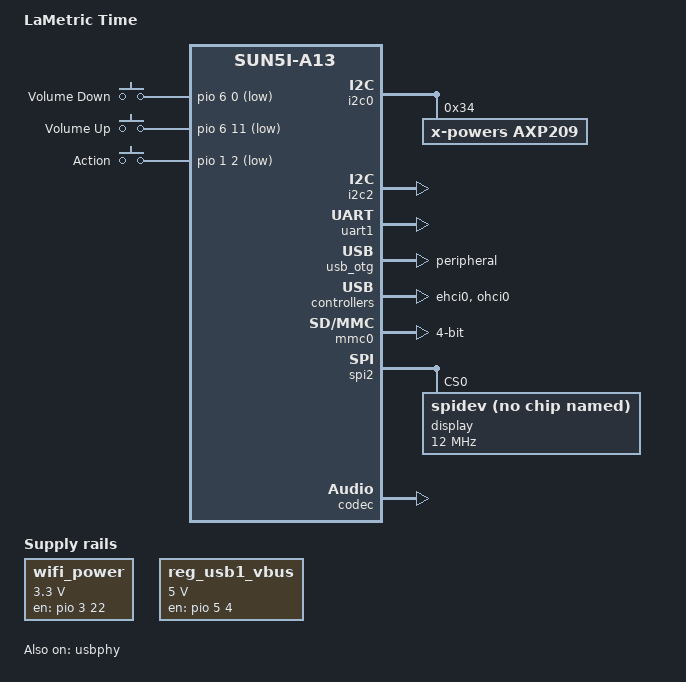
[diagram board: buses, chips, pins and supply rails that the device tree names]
/*
 * LaMetric Time board DTS for Linux 5.15
 * Clean minimal DTS — only enables what we need.
 * Based on original firmware DTB analysis + script.fex.
 */
/dts-v1/;
#include "sun5i-a13.dtsi"
#include <dt-bindings/gpio/gpio.h>

/ {
	model = "LaMetric Time";
	compatible = "lametric,time", "allwinner,sun5i-a13";

	aliases {
		serial0 = &uart1;
	};

	chosen {
		stdout-path = "serial0:115200n8";
		bootargs = "clk_ignore_unused";
	};
};

/* AXP209 PMIC on I2C0 */
&i2c0 {
	status = "okay";

	axp209: pmic@34 {
		compatible = "x-powers,axp209";
		reg = <0x34>;
		interrupts = <0>;
	};
};

/* I2C2 for STM32 display + light sensor */
&i2c2 {
	status = "okay";
};

/* Debug UART */
&uart1 {
	pinctrl-names = "default";
	pinctrl-0 = <&uart1_pg_pins>;
	status = "okay";
};

/* USB OTG — force peripheral/device mode */
&otg_sram {
	status = "okay";
};

&usb_otg {
	dr_mode = "peripheral";
	status = "okay";
};

&usbphy {
	usb0_id_det-gpios = <&pio 6 2 (GPIO_ACTIVE_HIGH | GPIO_PULL_UP)>;
	usb0_vbus_det-gpios = <&pio 6 1 (GPIO_ACTIVE_HIGH | GPIO_PULL_DOWN)>;
	usb1_vbus-supply = <&reg_usb1_vbus>;
	status = "okay";
};

/* EHCI/OHCI for internal USB hub (WiFi module) */
&ehci0 {
	status = "okay";
};

&ohci0 {
	status = "okay";
};

/* SD card */
&mmc0 {
	bus-width = <4>;
	status = "okay";
};

/* SPI2 for display pixel data */
&spi2 {
	pinctrl-names = "default";
	pinctrl-0 = <&spi2_pe_pins &spi2_cs0_pe_pin>;
	status = "okay";

	display@0 {
		compatible = "rohm,dh2228fv";
		reg = <0>;
		spi-max-frequency = <12000000>;
	};
};

/* WiFi power (PD22) — must be HIGH for RTL8723BU to power on */
/ {
	wifi_power: regulator-wifi {
		compatible = "regulator-fixed";
		regulator-name = "wifi-power";
		regulator-min-microvolt = <3300000>;
		regulator-max-microvolt = <3300000>;
		gpio = <&pio 3 22 GPIO_ACTIVE_HIGH>;
		enable-active-high;
		regulator-always-on;
		regulator-boot-on;
	};

	/* USB1 host VBUS for internal WiFi hub */
	reg_usb1_vbus: regulator-usb1-vbus {
		compatible = "regulator-fixed";
		regulator-name = "usb1-vbus";
		regulator-min-microvolt = <5000000>;
		regulator-max-microvolt = <5000000>;
		gpio = <&pio 5 4 GPIO_ACTIVE_HIGH>;
		enable-active-high;
		regulator-always-on;
		regulator-boot-on;
	};
};

/* Hardware buttons */
/ {
	gpio-keys {
		compatible = "gpio-keys";

		volume-down {
			label = "Volume Down";
			linux,code = <114>; /* KEY_VOLUMEDOWN */
			gpios = <&pio 6 0 GPIO_ACTIVE_LOW>; /* PG0 */
		};
		volume-up {
			label = "Volume Up";
			linux,code = <115>; /* KEY_VOLUMEUP */
			gpios = <&pio 6 11 GPIO_ACTIVE_LOW>; /* PG11 */
		};
		action {
			label = "Action";
			linux,code = <28>; /* KEY_ENTER */
			gpios = <&pio 1 2 GPIO_ACTIVE_LOW>; /* PB2 */
		};
	};
};

/* Audio codec — ALSA manages clocks and codec registers */
&codec {
	allwinner,pa-gpios = <&pio 3 24 GPIO_ACTIVE_HIGH>;
	status = "okay";
};

/* EVERYTHING BELOW IS EXPLICITLY DISABLED */

/* LCD/TCON — MUST be disabled to keep PD23 as GPIO for LED power */
&tcon0 {
	status = "disabled";
};

&be0 {
	status = "disabled";
};

&fe0 {
	status = "disabled";
};
